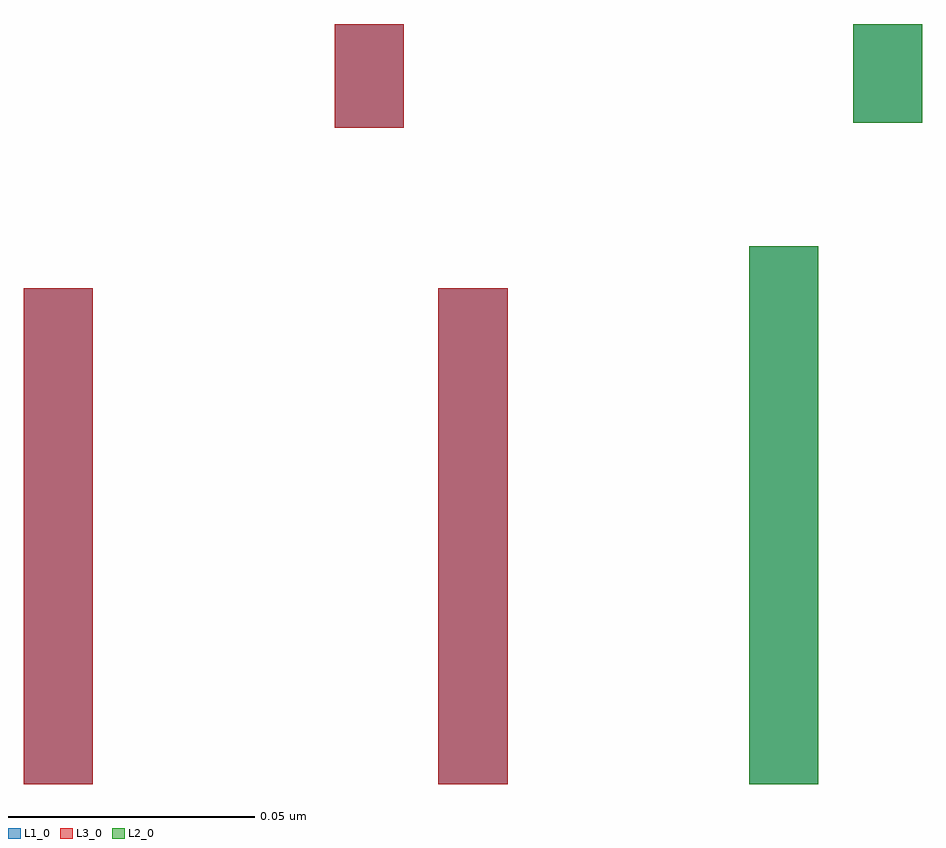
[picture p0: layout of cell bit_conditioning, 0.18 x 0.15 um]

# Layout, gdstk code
import gdstk
lib = gdstk.Library(unit=1e-6, precision=5e-10)
def R(c, l, rs):  # rectangles x0, y0, x1, y1
    for r in rs: c.add(gdstk.rectangle(r[:2], r[2:], *l))
L1_0 = (1, 0)
L2_0 = (2, 0)
L3_0 = (3, 0)

bit_conditioning = lib.new_cell('bit_conditioning')
R(bit_conditioning, L1_0, [(0.596,0.337,0.61,0.4375), (0.68,0.337,0.694,0.4375), (0.743,0.337,0.757,0.446), (0.659,0.47,0.673,0.491), (0.764,0.471,0.778,0.491)])
R(bit_conditioning, L2_0, [(0.743,0.337,0.757,0.446), (0.764,0.471,0.778,0.491)])
R(bit_conditioning, L3_0, [(0.596,0.337,0.61,0.4375), (0.68,0.337,0.694,0.4375), (0.659,0.47,0.673,0.491)])

lib.write_gds('bit_conditioning.gds')
